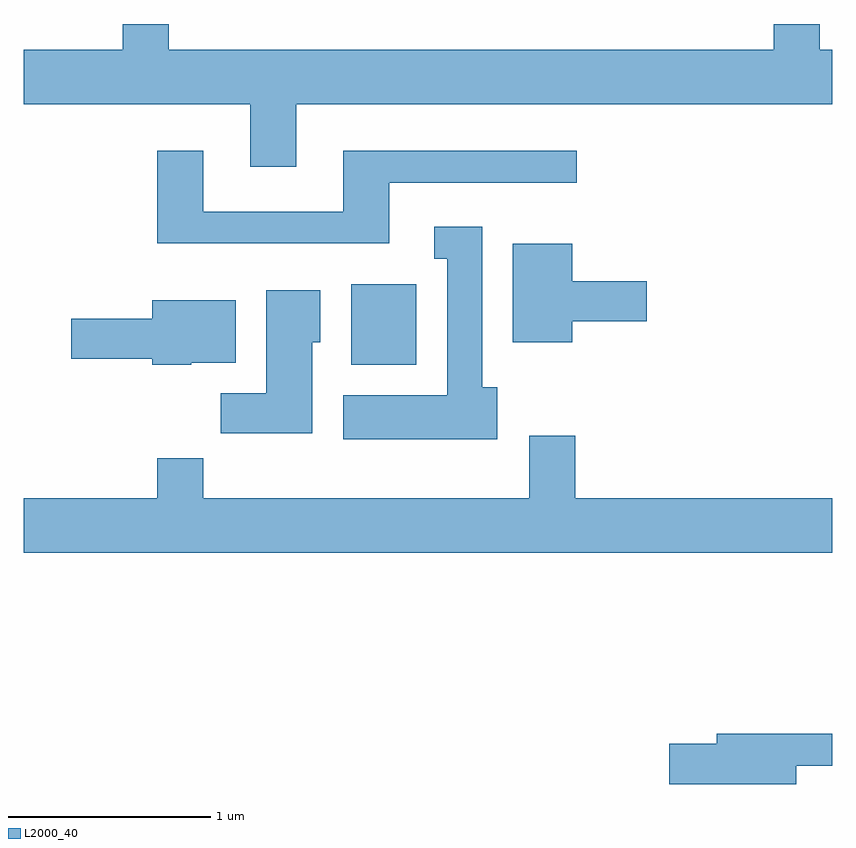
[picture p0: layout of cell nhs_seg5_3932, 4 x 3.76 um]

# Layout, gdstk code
import gdstk
lib = gdstk.Library(unit=1e-6, precision=1e-09)
def R(c, l, rs):  # rectangles x0, y0, x1, y1
    for r in rs: c.add(gdstk.rectangle(r[:2], r[2:], *l))
def P(c, l, *ps):  # polygons
    for p in ps: c.add(gdstk.Polygon(p, *l))
L2000_40 = (2000, 40)

nhs_seg5_3932 = lib.new_cell('nhs_seg5_3932')
R(nhs_seg5_3932, L2000_40, [(303.231,1464.386,303.554,1464.784)])
P(nhs_seg5_3932, L2000_40, [(302.959,1465.676),(305.611,1465.676),(305.611,1465.944),(305.549,1465.944),(305.549,1466.072),(305.321,1466.072),(305.321,1465.944),(302.329,1465.944),(302.329,1466.072),(302.101,1466.072),(302.101,1465.944),(301.611,1465.944),(301.611,1465.676),(302.731,1465.676),(302.731,1465.366),(302.959,1465.366)],
  [(303.419,1465.286),(304.348,1465.286),(304.348,1465.444),(303.191,1465.444),(303.191,1465.144),(302.499,1465.144),(302.499,1465.444),(302.271,1465.444),(302.271,1464.986),(303.419,1464.986)],
  [(303.954,1464.274),(303.879,1464.274),(303.879,1465.069),(303.643,1465.069),(303.643,1464.911),(303.706,1464.911),(303.706,1464.234),(303.191,1464.234),(303.191,1464.016),(303.954,1464.016)],
  [(304.324,1464.601),(304.694,1464.601),(304.694,1464.799),(304.324,1464.799),(304.324,1464.984),(304.031,1464.984),(304.031,1464.496),(304.324,1464.496)],
  [(303.039,1464.496),(303.079,1464.496),(303.079,1464.754),(302.811,1464.754),(302.811,1464.244),(302.586,1464.244),(302.586,1464.046),(303.039,1464.046)],
  [(302.44,1464.396),(302.659,1464.396),(302.659,1464.704),(302.246,1464.704),(302.246,1464.614),(301.846,1464.614),(301.846,1464.416),(302.246,1464.416),(302.246,1464.386),(302.44,1464.386)],
  [(305.611,1463.724),(304.339,1463.724),(304.339,1464.034),(304.111,1464.034),(304.111,1463.724),(302.499,1463.724),(302.499,1463.924),(302.271,1463.924),(302.271,1463.724),(301.611,1463.724),(301.611,1463.456),(305.611,1463.456)],
  [(305.434,1462.401),(305.611,1462.401),(305.611,1462.559),(305.041,1462.559),(305.041,1462.509),(304.806,1462.509),(304.806,1462.311),(305.434,1462.311)])

lib.write_gds('nhs_seg5_3932.gds')
